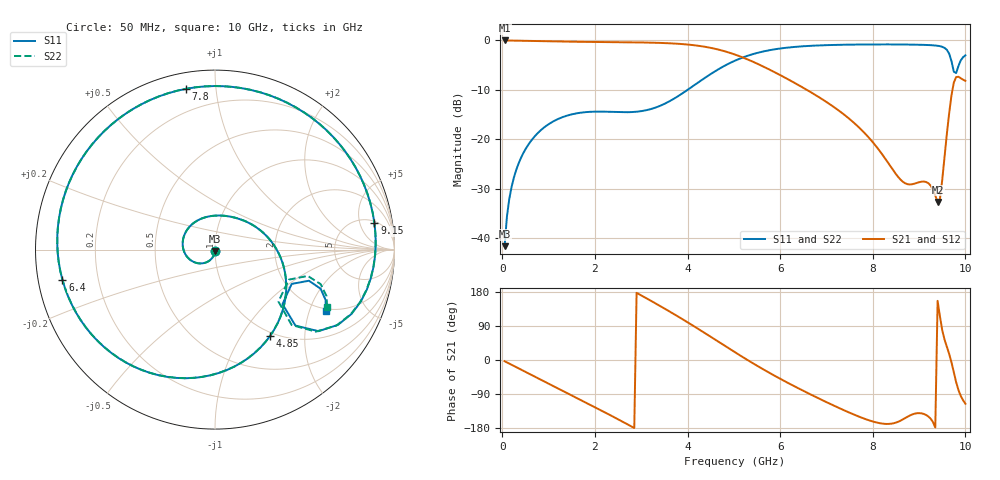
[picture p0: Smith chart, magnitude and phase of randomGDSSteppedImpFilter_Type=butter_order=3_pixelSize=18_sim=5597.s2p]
! freq	dB(S11)	phase(S11)	dB(S12)	phase(S12)
!  dB(S21)	phase(S21)	dB(S22)	phase(S22)
!S-par simulation data
#  GHz  S  DB  R 50
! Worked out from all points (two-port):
!   200 points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, 50 MHz to 10 GHz, reference 50 ohm
!   highest |S21| = 0.00 dB at 50 MHz (marker M1); lowest = -32.7 dB at 9.4 GHz (marker M2)
!   |S21| within 3 dB of the highest: start of sweep to 5.069 GHz
!   lowest |S11| = -41.6 dB at 50 MHz (marker M3), VSWR 1.02, Z = 50 - j0.829 ohm
!   |S11| at or under -10 dB: start of sweep to 4 GHz
!   |S22| runs from -41.6 to -0.8 dB; largest |S21 - S12| = 0
!   S11 on the Smith chart (normalised r, x): 50 MHz: 1.00, -0.02; 4.85 GHz: 0.95, -1.35; 6.4 GHz: 0.07, -0.10; 7.8 GHz: 0.08, +0.83; 9.15 GHz: 6, +9; 10 GHz: 1.90, -2.60
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0.05  -41.61 -92.4  -0.00 -3.2  -0.00 -3.2  -41.57 -92.3
0.2  -29.65 -102.3  -0.03 -12.6  -0.03 -12.6  -29.65 -102.2
0.5  -22.01 -121.4  -0.07 -31.3  -0.07 -31.3  -22.00 -121.4
1.15  -16.13 -162.3  -0.20 -71.6  -0.20 -71.6  -16.13 -162.2
1.75  -14.55 160.3  -0.29 -108.8  -0.29 -108.8  -14.55 160.6
2.65  -14.52 102.8  -0.37 -166.2  -0.37 -166.2  -14.52 103.2
3.4  -13.25 51.9  -0.50 143.0  -0.50 143.0  -13.25 52.2
4.1  -9.35 0.9  -0.92 92.1  -0.92 92.1  -9.35 1.0
4.85  -4.88 -57.3  -2.32 34.0  -2.32 34.0  -4.88 -57.4
5.05  -3.99 -72.9  -2.94 18.5  -2.94 18.5  -3.99 -73.0
5.65  -2.20 -117.7  -5.34 -25.7  -5.34 -25.7  -2.20 -117.8
6.4  -1.24 -168.9  -9.05 -75.1  -9.05 -75.1  -1.24 -169.0
6.7  -1.07 171.6  -10.68 -93.5  -10.68 -93.5  -1.07 171.4
7.8  -0.82 100.2  -18.50 -154.1  -18.50 -154.1  -0.81 100.2
8.35  -0.80 63.8  -25.01 -168.6  -25.01 -168.6  -0.80 63.9
9.15  -0.91 9.4  -28.62 -145.0  -28.62 -145.0  -0.91 9.4
9.4  -1.08 -10.2  -32.68 156.1  -32.68 156.1  -1.09 -10.3
9.45  -1.16 -14.7  -32.07 115.5  -32.07 115.5  -1.18 -14.9
9.65  -2.68 -38.2  -14.69 15.9  -14.69 15.9  -2.80 -39.1
9.75  -6.31 -38.9  -8.52 -32.5  -8.52 -32.5  -6.80 -39.3
9.85  -5.17 -18.3  -7.34 -79.3  -7.34 -79.3  -5.40 -15.8
10  -3.01 -29.0  -8.17 -115.4  -8.17 -115.4  -3.06 -27.2
